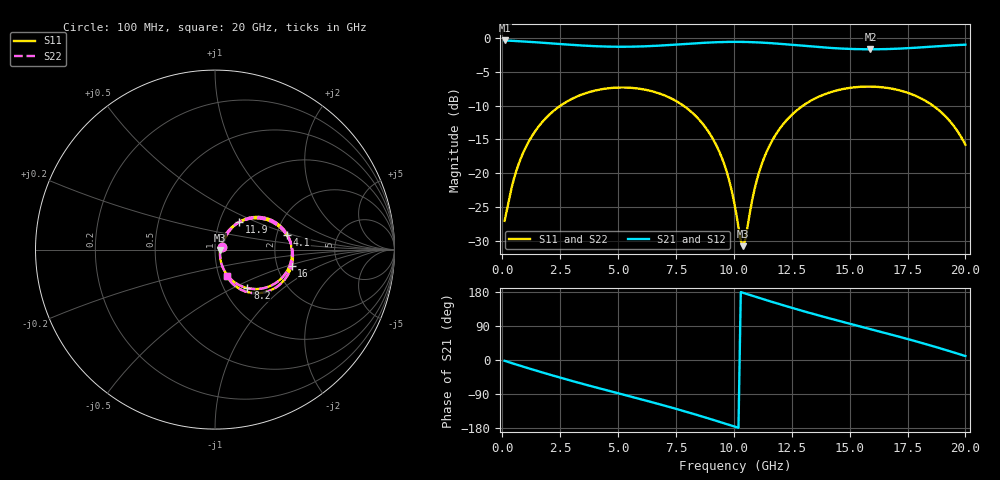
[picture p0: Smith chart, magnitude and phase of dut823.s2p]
! Touchstone file exported from HFSS 2026.1.0
!  File:  C:/ffzhzh/LocalFiles/Ansys_Project_Files/temp_train_TSV_RDL_823_1783265779_38704.aedt
!  Generated:  11:47:42 PM Jul  5, 2026
!  Design:  TSV_RDL
!  Project:  temp_train_TSV_RDL_823_1783265779_38704
! Variables:
!  h_bsmrdl = 2.61um
!  h_ox = 20um
!  h_rdl = 5um
!  h_sub = 73.22um
!  h_tmrdl = 2.6um
!  h_tsv = 73.22um
!  h_via = 3um
!  l_bsmrdl = 817.43um
!  l_sub = 5681.24um
!  l_tmrdl = 679.84um
!  m_sub = 200um
!  pitch = 36.28um
!  r_tsv = 12.83um
!  s_tmrdl = 10um
!  w_bsmrdl = 12.74um
!  w_sub = 500um
!  w_tmrdl = 23.79um
!  x_tsv_center1 = 691.735um
!  x_tsv_center2 = 1521.905um
!  x_tsv_center3 = 2225.535um
!  x_tsv_center4 = 3055.705um
!  x_tsv_center5 = 3759.335um
!  x_tsv_center6 = 4589.505um
# GHz S MA R 50.000000
! Terminal data exported
! Port[1] = TM_RDL1_1_T1
! Port[2] = TM_RDL5_1_T1
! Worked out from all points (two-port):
!   200 points, 100 MHz to 20 GHz, reference 50 ohm
!   highest |S21| = -0.37 dB at 100 MHz (marker M1); lowest = -1.7 dB at 15.9 GHz (marker M2)
!   |S21| within 3 dB of the highest: start of sweep to end of sweep
!   lowest |S11| = -30.8 dB at 10.4 GHz (marker M3), VSWR 1.06, Z = 53 - j0.21 ohm
!   |S11| at or under -10 dB: start of sweep to 2.521 GHz; 7.814 GHz to 12.99 GHz (5.18 GHz wide, 49.8 % of centre); 18.59 GHz to end of sweep
!   |S22| runs from -30.7 to -7.2 dB; largest |S21 - S12| = 1.5e-14
!   S11 on the Smith chart (normalised r, x): 100 MHz: 1.09, +0.03; 4.1 GHz: 2.28, +0.46; 8.2 GHz: 1.28, -0.60; 11.9 GHz: 1.24, +0.40; 16 GHz: 2.41, -0.53; 20 GHz: 1.09, -0.33
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0.1  0.04431 20.2  0.9588 -2.1  0.9588 -2.1  0.04431 20.2
! Gamma 0 0 0 0
! Port Impedance 50 0 50 0
0.6  0.103 51.2  0.9491 -11.9  0.9491 -11.9  0.103 51.2
1.3  0.19 50.0  0.9333 -25.0  0.9333 -25.0  0.19 50.0
2.3  0.2965 37.9  0.9074 -43.0  0.9074 -43.0  0.2965 37.9
3.5  0.3848 20.6  0.8784 -63.5  0.8784 -63.5  0.3848 20.6
4.1  0.4114 11.8  0.8683 -73.3  0.8683 -73.3  0.4114 11.8
5.4  0.4292 -7.4  0.8616 -94.1  0.8616 -94.1  0.4292 -7.4
6.8  0.3874 -28.4  0.8783 -116.9  0.8783 -116.9  0.3874 -28.4
8.2  0.2801 -50.0  0.91 -141.2  0.91 -141.2  0.2801 -49.9
9.4  0.1404 -65.5  0.9323 -163.5  0.9323 -163.5  0.1404 -65.4
9.8  0.08808 -65.7  0.9356 -171.2  0.9356 -171.2  0.08819 -65.4
10.1  0.05038 -55.5  0.9362 -177.0  0.9362 -177.0  0.05063 -55.1
10.4  0.02874 -3.9  0.9352 177.2  0.9352 177.2  0.02925 -4.0
11.1  0.1027 54.9  0.9266 163.7  0.9266 163.7  0.1028 54.6
11.9  0.2033 48.6  0.908 148.7  0.908 148.7  0.2034 48.4
13.4  0.349 26.6  0.8637 122.1  0.8637 122.1  0.349 26.5
14.6  0.415 8.7  0.836 102.3  0.836 102.3  0.415 8.5
15.9  0.4368 -10.3  0.8248 81.5  0.8248 81.5  0.4367 -10.4
16  0.4363 -11.7  0.8248 79.9  0.8248 79.9  0.4363 -11.9
16.7  0.4249 -21.9  0.8288 68.7  0.8288 68.7  0.4249 -22.1
18.7  0.3066 -51.2  0.8661 34.7  0.8661 34.7  0.3064 -51.5
20  0.162 -65.6  0.892 10.4  0.892 10.4  0.1616 -66.1
